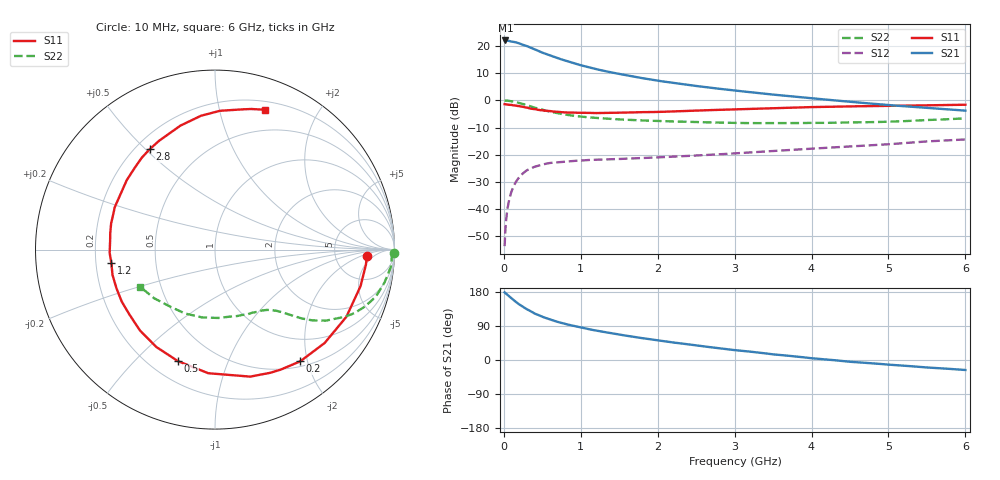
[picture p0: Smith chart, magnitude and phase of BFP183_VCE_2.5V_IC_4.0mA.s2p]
! Infineon Technologies  Discrete & RF Semiconductors
! BFP183
! VCE = 2.5 V,  IC =  4.0 mA
! Common Emitter S-Parameters:  Jan 2016
# GHz  S  MA  R  50
!  f  S11  S21  S12  S22
! GHz  MAG  ANG  MAG  ANG  MAG  ANG  MAG  ANG
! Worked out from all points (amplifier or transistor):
!   210 points, 10 MHz to 6 GHz, reference 50 ohm
!   highest |S21| = 22.0 dB at 20 MHz (marker M1)
!   |S21| within 3 dB of that: start of sweep to 378.6 MHz
!   unconditionally stable (mu >= 1): 1.683 GHz to 5.794 GHz
!   at 185 MHz: K = 0.14, MSG = 24.9 dB, |S12| = -28.8 dB
!   at 1.52 GHz: K = 0.93, MSG = 15.5 dB, |S12| = -21.5 dB
!   at 6 GHz: K = 0.96, MSG = 5.3 dB, |S12| = -14.4 dB
!   S11 on the Smith chart (normalised r, x): 10 MHz: 11, -3; 200 MHz: 0.58, -1.88; 500 MHz: 0.31, -0.67; 1.2 GHz: 0.27, -0.06; 2.8 GHz: 0.26, +0.52; 6 GHz: 0.28, +1.38
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0.01  0.8468 -2.6  12.39 178.5  0.0021 82.4  0.9952 -1.2
0.02  0.845 -5.7  12.53 177.0  0.0042 88.5  0.9863 -2.2
0.05  0.8361 -14.1  12.46 171.1  0.0108 83.9  0.9846 -5.6
0.14  0.8029 -37.7  11.68 156.0  0.0288 69.8  0.9387 -15.2
0.15  0.8025 -40.4  11.64 154.3  0.0307 68.8  0.9337 -16.3
0.2  0.7829 -52.7  11.09 146.7  0.0387 63.2  0.8945 -20.7
0.24  0.7619 -61.5  10.52 141.3  0.0444 58.7  0.8619 -23.7
0.3  0.7344 -74.5  9.867 133.9  0.052 53.4  0.8109 -27.6
0.4  0.6898 -93.1  8.636 122.6  0.0602 45.8  0.7329 -32.7
0.5  0.6547 -108.4  7.488 113.9  0.0662 40.0  0.6689 -36.1
0.6  0.6334 -121.1  6.67 106.7  0.0707 36.1  0.6186 -38.4
0.7  0.6148 -132.8  5.907 100.4  0.073 33.0  0.5779 -40.0
0.8  0.5984 -142.8  5.348 94.9  0.075 30.5  0.5458 -41.4
1.02  0.5886 -160.2  4.324 84.8  0.0786 27.6  0.4986 -43.8
1.2  0.5823 -172.5  3.731 77.7  0.081 25.7  0.4747 -45.7
1.5  0.5907 171.2  3.047 66.9  0.0836 25.3  0.4448 -49.0
2.02  0.6118 148.3  2.266 51.4  0.0897 25.9  0.417 -56.3
2.8  0.6679 122.8  1.626 30.7  0.1019 27.4  0.391 -71.2
3.1  0.6864 114.8  1.459 24.2  0.108 28.0  0.3824 -77.9
4.1  0.7533 94.3  1.058 3.0  0.1318 27.2  0.3844 -103.8
5.1  0.7927 80.1  0.797 -13.6  0.1597 24.7  0.4086 -131.1
6  0.8277 70.3  0.645 -26.4  0.1911 18.1  0.4656 -153.6
